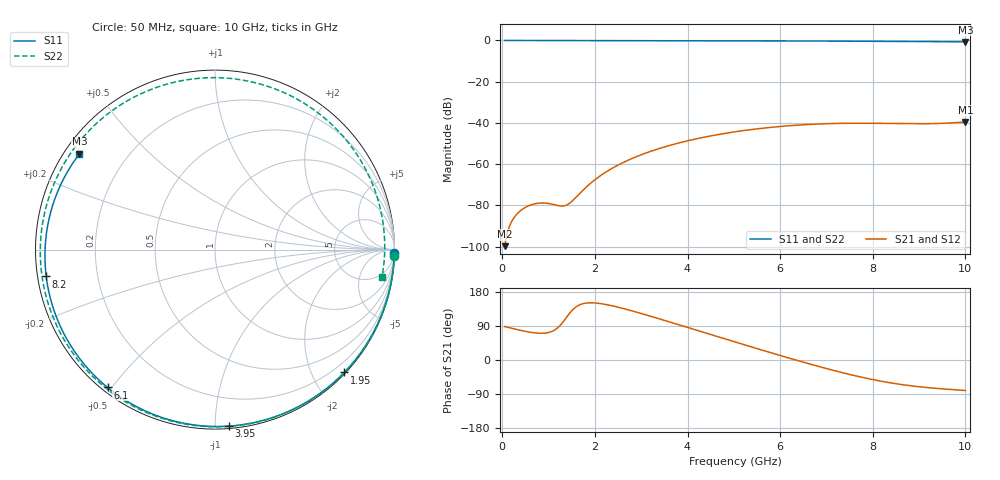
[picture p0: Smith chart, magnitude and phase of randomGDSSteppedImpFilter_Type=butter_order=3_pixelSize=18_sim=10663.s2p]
! freq	dB(S11)	phase(S11)	dB(S12)	phase(S12)
!  dB(S21)	phase(S21)	dB(S22)	phase(S22)
!S-par simulation data
#  GHz  S  DB  R 50
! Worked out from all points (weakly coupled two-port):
!   200 points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, 50 MHz to 10 GHz, reference 50 ohm
!   highest |S21| = -39.56 dB at 10 GHz (marker M1); lowest = -99.8 dB at 50 MHz (marker M2)
!   lowest |S11| = -0.7 dB at 10 GHz (marker M3), VSWR 25.55, Z = 2.15 + j15.9 ohm
!   |S11| at or under -10 dB: nowhere
!   |S22| runs from -0.5 to 0.0 dB; largest |S21 - S12| = 0
!   S11 on the Smith chart (normalised r, x): 50 MHz: open; 1.95 GHz: 0.02, -2.50; 3.95 GHz: 0.01, -1.08; 6.1 GHz: 0.02, -0.49; 8.2 GHz: 0.02, -0.08; 10 GHz: 0.04, +0.32
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0.05  -0.00 -1.1  -99.83 88.5  -99.83 88.5  -0.00 -2.1
0.65  -0.02 -14.7  -79.57 72.4  -79.57 72.4  -0.04 -26.4
0.9  -0.03 -20.4  -78.89 70.8  -78.89 70.8  -0.05 -36.4
1.35  -0.04 -30.4  -80.20 106.4  -80.20 106.4  -0.07 -54.1
1.5  -0.04 -33.7  -78.14 130.1  -78.14 130.1  -0.07 -59.9
1.75  -0.05 -39.2  -72.51 148.8  -72.51 148.8  -0.09 -69.5
1.95  -0.06 -43.6  -68.48 150.9  -68.48 150.9  -0.09 -77.0
2.55  -0.07 -56.5  -59.89 137.8  -59.89 137.8  -0.12 -98.9
3.4  -0.10 -74.2  -52.36 108.3  -52.36 108.3  -0.16 -128.7
3.95  -0.12 -85.5  -48.97 87.8  -48.97 87.8  -0.18 -147.5
4.5  -0.14 -96.5  -46.33 67.2  -46.33 67.2  -0.21 -166.2
5.05  -0.17 -107.3  -44.25 46.7  -44.25 46.7  -0.24 175.0
5.55  -0.19 -117.2  -42.77 28.2  -42.77 28.2  -0.27 157.5
6.1  -0.23 -127.9  -41.55 8.3  -41.55 8.3  -0.31 137.7
6.7  -0.28 -139.8  -40.66 -12.6  -40.66 -12.6  -0.34 115.4
7.45  -0.34 -155.0  -40.18 -36.6  -40.18 -36.6  -0.38 86.5
7.8  -0.38 -162.3  -40.16 -46.6  -40.16 -46.6  -0.39 72.8
8.2  -0.42 -170.9  -40.25 -56.4  -40.25 -56.4  -0.41 57.1
8.35  -0.44 -174.3  -40.30 -59.6  -40.30 -59.6  -0.41 51.2
9.15  -0.55 167.0  -40.40 -72.5  -40.40 -72.5  -0.45 20.8
9.55  -0.61 156.9  -40.17 -76.6  -40.17 -76.6  -0.47 6.3
10  -0.68 144.7  -39.56 -80.5  -39.56 -80.5  -0.51 -9.2
